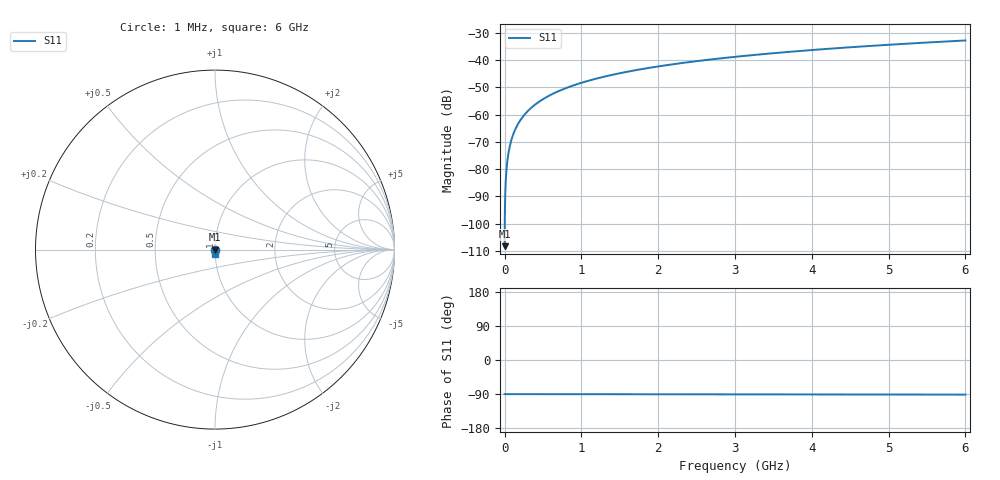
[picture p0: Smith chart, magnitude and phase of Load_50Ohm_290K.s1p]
! Created Mon Nov 15 13:49:02 2021
# hz S ma R 50
! 1 Port Network Data from SP1.SP block
! freq  magS11  angS11
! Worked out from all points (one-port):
!   6000 points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, 1 MHz to 6 GHz, reference 50 ohm
!   lowest |S11| = -108.3 dB at 1 MHz (marker M1), VSWR 1.00, Z = 50 - j0.000384 ohm
!   |S11| at or under -10 dB: start of sweep to end of sweep
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1000000  3.84e-06 -90.0
1.3e7  4.992e-05 -90.0
2.7e7  0.0001037 -90.0
4.2e7  0.0001613 -90.0
6.2e7  0.0002381 -90.0
7.3e7  0.0002803 -90.0
8.9e7  0.0003417 -90.0
1.07e8  0.0004108 -90.0
1.31e8  0.000503 -90.0
1.58e8  0.0006067 -90.0
1.89e8  0.0007257 -90.0
2.25e8  0.0008639 -90.0
2.69e8  0.001033 -90.1
3.19e8  0.001225 -90.1
4.36e8  0.001674 -90.1
5.79e8  0.002223 -90.1
7.51e8  0.002884 -90.2
9.07e8  0.003483 -90.2
1.083e9  0.004158 -90.2
1.281e9  0.004919 -90.3
1.501e9  0.005763 -90.3
1.851e9  0.007107 -90.4
2.251e9  0.008643 -90.5
3.001e9  0.01152 -90.7
3.751e9  0.0144 -90.8
4.501e9  0.01728 -91.0
5.251e9  0.02016 -91.2
6e9  0.02303 -91.3
